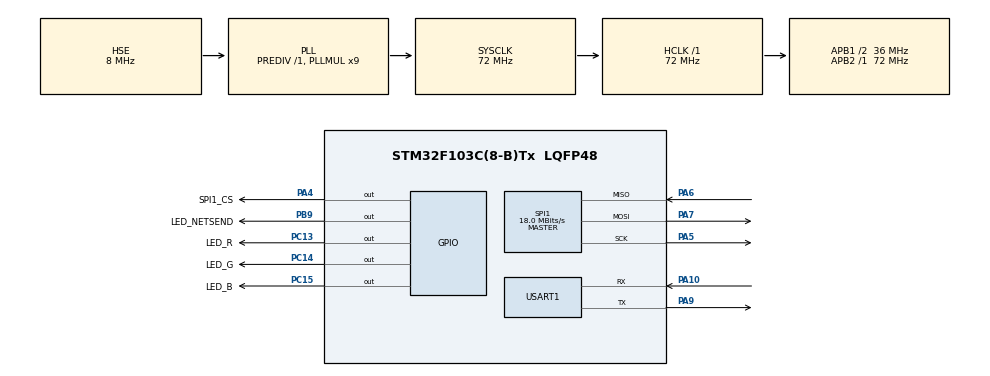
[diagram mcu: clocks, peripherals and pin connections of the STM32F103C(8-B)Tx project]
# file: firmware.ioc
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Dma.Request0=SPI1_RX
Dma.Request1=SPI1_TX
Dma.Request2=USART1_RX
Dma.Request3=USART1_TX
Dma.SPI1_RX.0.Direction=DMA_PERIPH_TO_MEMORY
Dma.SPI1_RX.0.Instance=DMA1_Channel2
Dma.SPI1_RX.0.MemDataAlignment=DMA_MDATAALIGN_BYTE
Dma.SPI1_RX.0.MemInc=DMA_MINC_ENABLE
Dma.SPI1_RX.0.Mode=DMA_NORMAL
Dma.SPI1_RX.0.PeriphDataAlignment=DMA_PDATAALIGN_BYTE
Dma.SPI1_RX.0.PeriphInc=DMA_PINC_DISABLE
Dma.SPI1_RX.0.Priority=DMA_PRIORITY_LOW
Dma.SPI1_TX.1.Direction=DMA_MEMORY_TO_PERIPH
Dma.SPI1_TX.1.Instance=DMA1_Channel3
Dma.SPI1_TX.1.MemDataAlignment=DMA_MDATAALIGN_BYTE
Dma.SPI1_TX.1.MemInc=DMA_MINC_ENABLE
Dma.SPI1_TX.1.Mode=DMA_NORMAL
Dma.SPI1_TX.1.PeriphDataAlignment=DMA_PDATAALIGN_BYTE
Dma.SPI1_TX.1.PeriphInc=DMA_PINC_DISABLE
Dma.SPI1_TX.1.Priority=DMA_PRIORITY_LOW
Dma.USART1_RX.2.Direction=DMA_PERIPH_TO_MEMORY
Dma.USART1_RX.2.Instance=DMA1_Channel5
Dma.USART1_RX.2.MemDataAlignment=DMA_MDATAALIGN_BYTE
Dma.USART1_RX.2.MemInc=DMA_MINC_ENABLE
Dma.USART1_RX.2.Mode=DMA_CIRCULAR
Dma.USART1_RX.2.PeriphDataAlignment=DMA_PDATAALIGN_BYTE
Dma.USART1_RX.2.PeriphInc=DMA_PINC_DISABLE
Dma.USART1_RX.2.Priority=DMA_PRIORITY_LOW
Dma.USART1_TX.3.Direction=DMA_MEMORY_TO_PERIPH
Dma.USART1_TX.3.Instance=DMA1_Channel4
Dma.USART1_TX.3.MemDataAlignment=DMA_MDATAALIGN_BYTE
Dma.USART1_TX.3.MemInc=DMA_MINC_ENABLE
Dma.USART1_TX.3.Mode=DMA_NORMAL
Dma.USART1_TX.3.PeriphDataAlignment=DMA_PDATAALIGN_BYTE
Dma.USART1_TX.3.PeriphInc=DMA_PINC_DISABLE
Dma.USART1_TX.3.Priority=DMA_PRIORITY_LOW
Mcu.Family=STM32F1
Mcu.Name=STM32F103C(8-B)Tx
Mcu.Package=LQFP48
NVIC.DMA1_Channel2_IRQn=true\:0\:0\:false
NVIC.DMA1_Channel3_IRQn=true\:0\:0\:false
NVIC.DMA1_Channel4_IRQn=true\:0\:0\:false
NVIC.DMA1_Channel5_IRQn=true\:0\:0\:false
NVIC.PriorityGroup=NVIC_PRIORITYGROUP_4
PA10.Mode=Asynchronous
PA10.Signal=USART1_RX
PA13.Mode=Serial_Wire
PA13.Signal=SYS_JTMS-SWDIO
PA14.Mode=Serial_Wire
PA14.Signal=SYS_JTCK-SWCLK
PA4.GPIO_Label=SPI1_CS
PA4.Signal=GPIO_Output
PA5.Mode=Full_Duplex_Master
PA5.Signal=SPI1_SCK
PA6.Mode=Full_Duplex_Master
PA6.Signal=SPI1_MISO
PA7.Mode=Full_Duplex_Master
PA7.Signal=SPI1_MOSI
PA9.Mode=Asynchronous
PA9.Signal=USART1_TX
PB9.GPIO_Label=LED_NETSEND
PB9.Signal=GPIO_Output
PC13-TAMPER-RTC.GPIO_Label=LED_R
PC13-TAMPER-RTC.Signal=GPIO_Output
PC14-OSC32_IN.GPIO_Label=LED_G
PC14-OSC32_IN.Signal=GPIO_Output
PC15-OSC32_OUT.GPIO_Label=LED_B
PC15-OSC32_OUT.Signal=GPIO_Output
PD0-OSC_IN.Mode=HSE-External-Oscillator
PD0-OSC_IN.Signal=RCC_OSC_IN
PD1-OSC_OUT.Mode=HSE-External-Oscillator
PD1-OSC_OUT.Signal=RCC_OSC_OUT
ProjectManager.TargetToolchain=SW4STM32
RCC.AHBFreq_Value=72000000
RCC.APB1CLKDivider=RCC_HCLK_DIV2
RCC.APB1Freq_Value=36000000
RCC.APB1TimFreq_Value=72000000
RCC.APB2Freq_Value=72000000
RCC.APB2TimFreq_Value=72000000
RCC.HCLKFreq_Value=72000000
RCC.HSIState=RCC_HSI_ON
RCC.PLLMUL=RCC_PLL_MUL9
RCC.PLLSourceVirtual=RCC_PLLSOURCE_HSE
RCC.SYSCLKFreq_VALUE=72000000
RCC.SYSCLKSource=RCC_SYSCLKSOURCE_PLLCLK
RCC.USBFreq_Value=72000000
SPI1.BaudRatePrescaler=SPI_BAUDRATEPRESCALER_4
SPI1.CalculateBaudRate=18.0 MBits/s
SPI1.Mode=SPI_MODE_MASTER
board=firmware

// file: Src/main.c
/**
  ******************************************************************************
  * File Name          : main.c
  * Description        : Main program body
  ******************************************************************************
  *
  * COPYRIGHT(c) 2016 STMicroelectronics
  *
  * Redistribution and use in source and binary forms, with or without modification,
  * are permitted provided that the following conditions are met:
  *   1. Redistributions of source code must retain the above copyright notice,
  *      this list of conditions and the following disclaimer.
  *   2. Redistributions in binary form must reproduce the above copyright notice,
  *      this list of conditions and the following disclaimer in the documentation
  *      and/or other materials provided with the distribution.
  *   3. Neither the name of STMicroelectronics nor the names of its contributors
  *      may be used to endorse or promote products derived from this software
  *      without specific prior written permission.
  *
  * THIS SOFTWARE IS PROVIDED BY THE COPYRIGHT HOLDERS AND CONTRIBUTORS "AS IS"
  * AND ANY EXPRESS OR IMPLIED WARRANTIES, INCLUDING, BUT NOT LIMITED TO, THE
  * IMPLIED WARRANTIES OF MERCHANTABILITY AND FITNESS FOR A PARTICULAR PURPOSE ARE
  * DISCLAIMED. IN NO EVENT SHALL THE COPYRIGHT HOLDER OR CONTRIBUTORS BE LIABLE
  * FOR ANY DIRECT, INDIRECT, INCIDENTAL, SPECIAL, EXEMPLARY, OR CONSEQUENTIAL
  * DAMAGES (INCLUDING, BUT NOT LIMITED TO, PROCUREMENT OF SUBSTITUTE GOODS OR
  * SERVICES; LOSS OF USE, DATA, OR PROFITS; OR BUSINESS INTERRUPTION) HOWEVER
  * CAUSED AND ON ANY THEORY OF LIABILITY, WHETHER IN CONTRACT, STRICT LIABILITY,
  * OR TORT (INCLUDING NEGLIGENCE OR OTHERWISE) ARISING IN ANY WAY OUT OF THE USE
  * OF THIS SOFTWARE, EVEN IF ADVISED OF THE POSSIBILITY OF SUCH DAMAGE.
  *
  ******************************************************************************
  */
#include "stm32f1xx_hal.h"

/* USER CODE BEGIN Includes */

#include <string.h>
#include "EtherShield.h"

#define PROC_PRESCALER	5

#define SENSORS		16
#define MAX_CHANNELS	16

#define NET_BUF_SIZE (1<<10)
#define UART_BUF_SIZE (NET_BUF_SIZE << 2)

#define MAX(a,b) ((a)>(b)?(a):(b))
#define BUF_SIZE MAX(NET_BUF_SIZE, UART_BUF_SIZE)

typedef uint16_t dataitem_t;

struct sensorcommand {
	dataitem_t	command_id;
	dataitem_t	 sensor_id;
	dataitem_t	channels;
	dataitem_t	channel[MAX_CHANNELS];
};
typedef struct sensorcommand sensorcommand_t;

struct collectorcommand {
	dataitem_t	command_id;
	dataitem_t	 sensor_id;
};
typedef struct collectorcommand collectorcommand_t;

enum command_id {
	CMD_GETDATA = 1,
	CMD_SETDATA = 2,
};

/* USER CODE END Includes */

SPI_HandleTypeDef hspi1;
DMA_HandleTypeDef hdma_spi1_rx;
DMA_HandleTypeDef hdma_spi1_tx;

UART_HandleTypeDef huart1;
DMA_HandleTypeDef hdma_usart1_rx;
DMA_HandleTypeDef hdma_usart1_tx;

/* USER CODE BEGIN PV */
/* Private variables ---------------------------------------------------------*/

/* USER CODE END PV */

void SystemClock_Config(void);
static void MX_GPIO_Init(void);
static void MX_DMA_Init(void);
static void MX_SPI1_Init(void);
static void MX_USART1_UART_Init(void);

/* USER CODE BEGIN PFP */
/* Private function prototypes -----------------------------------------------*/

void error (float error_num, char infinite) {
	//printf("%u\r\n", error_num);
	if (infinite)
		while (1) {
			int i = 0;
			while (i++ < ((int)((float)(error_num) / 1) + 1) ) {
				GPIOC->BSRR = LED_R_Pin;
				HAL_Delay(1000 / error_num);
				GPIOC->BSRR = LED_R_Pin << 16;
				HAL_Delay(1000 / error_num);
			}
		};

	GPIOC->BSRR = LED_R_Pin;
	HAL_Delay(1000);
	GPIOC->BSRR = LED_R_Pin << 16;
	HAL_Delay(100);

	int i=0;
	while (i++ < error_num) {
		GPIOC->BSRR = LED_R_Pin;
		HAL_Delay(300);
		GPIOC->BSRR = LED_R_Pin << 16;
		HAL_Delay(200);
	}

	HAL_Delay(500);
	NVIC_SystemReset();

	return;
}

static inline void blink(int times, int delay) {
	int i = 0;
	while (i++ < times) {
		GPIOC->BSRR = LED_R_Pin;
		HAL_Delay(delay);
		GPIOC->BSRR = LED_R_Pin << 16;
		HAL_Delay(delay);
	}

	return;
}

void ES_PingCallback(void) {
}

uint16_t get_udp_data_len(uint8_t *buf)
{
	int16_t i;
	i=(((int16_t)buf[IP_TOTLEN_H_P])<<8)|(buf[IP_TOTLEN_L_P]&0xff);
	i-=IP_HEADER_LEN;
	i-=8;
	if (i<=0){
		i=0;
	}
	return((uint16_t)i);
}

static uint16_t info_data_len = 0;
uint16_t packetloop_icmp_udp(uint8_t *buf,uint16_t plen)
{
	if(eth_type_is_arp_and_my_ip(buf,plen)){
		if (buf[ETH_ARP_OPCODE_L_P]==ETH_ARP_OPCODE_REQ_L_V){
			// is it an arp request
			make_arp_answer_from_request(buf);
		}
		return(0);

	}
	// check if ip packets are for us:
	if(eth_type_is_ip_and_my_ip(buf,plen)==0){
		return(0);
	}

	if(buf[IP_PROTO_P]==IP_PROTO_ICMP_V && buf[ICMP_TYPE_P]==ICMP_TYPE_ECHOREQUEST_V){
		make_echo_reply_from_request(buf,plen);
		return(0);
	}

	if (buf[IP_PROTO_P]==IP_PROTO_UDP_V) {
		info_data_len=get_udp_data_len(buf);
		return(IP_HEADER_LEN+8+14);
	}

	return(0);
}

/* USER CODE END PFP */

/* USER CODE BEGIN 0 */

#define NET_HEADERS_LENGTH (ETH_HEADER_LEN + IP_HEADER_LEN + UDP_HEADER_LEN)
#define RECV_TIMEOUT 1000

static uint32_t ticked = 0;
uint8_t net_sendbuf[NET_BUF_SIZE + 1];
uint8_t net_recvbuf[NET_BUF_SIZE + 1];

void main_tick() {
	ticked++;

	return;
}

void HAL_Delay(__IO uint32_t Delay)
{
	uint32_t tickstart = 0;
	tickstart = HAL_GetTick();
	while((HAL_GetTick() - tickstart) < Delay)
	{
		packetloop_icmp_udp(net_recvbuf, ES_enc28j60PacketReceive(NET_BUF_SIZE, net_recvbuf));
	}
}

/* USER CODE END 0 */

int main(void)
{

  /* MCU Configuration----------------------------------------------------------*/

  /* Reset of all peripherals, Initializes the Flash interface and the Systick. */
  HAL_Init();

  /* Configure the system clock */
  SystemClock_Config();

  /* Initialize all configured peripherals */
  MX_GPIO_Init();
  MX_DMA_Init();
  MX_SPI1_Init();
  MX_USART1_UART_Init();

  /* USER CODE BEGIN 2 */
	uint8_t  uart_recvbuf[UART_BUF_SIZE], uart_sendbuf[UART_BUF_SIZE];
	sensorcommand_t    *scmd =    (sensorcommand_t *)uart_recvbuf;
	collectorcommand_t *ccmd = (collectorcommand_t *)uart_sendbuf;

#ifdef UART_DMA
	{
		HAL_StatusTypeDef r = HAL_UART_Receive_DMA(&huart1, uart_recvbuf, UART_BUF_SIZE);
		if (r != HAL_OK)
			error(4+r, 0);
	}
#endif

	uint8_t   local_mac[] = {0x02, 0x03, 0x04, 0x05, 0x06, 0x09};
	uint8_t  remote_mac[] = {0x00, 0x1b, 0x21, 0x39, 0x37, 0x26};
	uint8_t   local_ip[]  = {10,  4, 33, 126};
	uint8_t  remote_ip[]  = {10,  4, 33, 242};

	ES_enc28j60SpiInit(&hspi1);
	ES_enc28j60Init(local_mac);

	uint8_t enc28j60_rev = ES_enc28j60Revision();
	if (enc28j60_rev <= 0)
		error(2, 0);

	ES_init_ip_arp_udp_tcp(local_mac, local_ip, 80);

  /* USER CODE END 2 */

  /* Infinite loop */
  /* USER CODE BEGIN WHILE */
	// ICMP echo server
	/*while (1)
	{
		packetloop_icmp_udp(net_sendbuf, ES_enc28j60PacketReceive(NET_BUF_SIZE, net_sendbuf));
	}*/

	uint8_t awaitingForSending = 0;
	dataitem_t *net_senddata = (dataitem_t *)(&net_sendbuf[NET_HEADERS_LENGTH]);
	dataitem_t channels = 0;

	while (1)
	{

		if (awaitingForSending) {
			GPIOB->BSRR = LED_NETSEND_Pin;
			ES_send_udp_data2(net_sendbuf, remote_mac, (3+channels)*sizeof(*net_senddata), 26524, remote_ip, 36400);
			GPIOB->BSRR = LED_NETSEND_Pin << 16;
			awaitingForSending = 0;
		}
		packetloop_icmp_udp(net_recvbuf, ES_enc28j60PacketReceive(NET_BUF_SIZE, net_recvbuf));
		//continue;

		{
			static uint8_t  awaitingForReceive = 0;
			static dataitem_t sensor_id = ~0;

#ifdef UART_DMA	// Doesn't work properly. Seems __HAL_UART_FLUSH_DRREGISTER() doesn't do what I expected.
			static uint16_t timeoutCounter;
			if (awaitingForReceive) {
				timeoutCounter++;
				if (timeoutCounter > RECV_TIMEOUT) {
					//error(3, 0);
					blink(3, 100);
					__HAL_UART_FLUSH_DRREGISTER(&huart1);
					awaitingForReceive = 0;
					GPIOC->BSRR = LED_G_Pin << 16;
					continue;
				}

				uint16_t itemsReceived = (UART_BUF_SIZE - huart1.hdmarx->Instance->CNDTR) / sizeof(dataitem_t);
				if (itemsReceived > 0) {
					if (scmd->command_id != CMD_SETDATA) {
						error(3, 0);
					}
				}
				if (itemsReceived > 1) {
					if (sensor_id != scmd->sensor_id) {
						error(4, 0);
					}
				}
				if (itemsReceived > 2) {
					channels  = scmd->channels;
				}

				if (itemsReceived-1 == channels) {
					net_senddata[0] = sensor_id;
					net_senddata[1] = channels;
					int i = 0;
					while (i < channels) {
						net_senddata[i+2] = scmd->channel[i];
						i++;
					}
					__HAL_UART_FLUSH_DRREGISTER(&huart1);
					awaitingForReceive = 0;
					awaitingForSending = 1;
					GPIOC->BSRR = LED_G_Pin << 16;
				}

				__HAL_UART_FLUSH_DRREGISTER(&huart1);

				continue;
			}
#else
			if (awaitingForReceive) {
				HAL_StatusTypeDef r;
				r = HAL_UART_Receive(&huart1, uart_recvbuf, sizeof(dataitem_t)*3, 0x1f);
				if (r == HAL_OK) {
					channels    = scmd->channels;

					net_senddata[0] = sensor_id;
					net_senddata[1] = channels;

					r = HAL_UART_Receive(&huart1, (uint8_t *)&scmd->channel, sizeof(dataitem_t)*channels, 0x1f);
				}

				if (r == HAL_OK) {
					int i = 0;
					while (i < channels) {
						net_senddata[i+2] = scmd->channel[i];
						i++;
					}
					awaitingForSending = 1;
				}

				awaitingForReceive = 0;
				GPIOC->BSRR = LED_G_Pin << 16;

				if (r != HAL_OK) {
					blink(1, 10);
					continue;
				}
			}
#endif

			if (ticked >= PROC_PRESCALER) {
				ticked = 0;

				HAL_Delay(1);

				sensor_id++;
				if (sensor_id == SENSORS)
					sensor_id = 0;

				GPIOC->BSRR = LED_G_Pin;

				ccmd->command_id = CMD_GETDATA;
				ccmd->sensor_id  = sensor_id;
				{
					HAL_StatusTypeDef r;
					r = HAL_UART_Transmit(&huart1, (uint8_t *)ccmd, sizeof(*ccmd), 0xff);
					if (r != HAL_OK)
						error(4+r, 0);
				}

				awaitingForReceive = 1;
				continue;
			}
		}
	}

  /* USER CODE END WHILE */

}

/** System Clock Configuration
*/
void SystemClock_Config(void)
{

  RCC_OscInitTypeDef RCC_OscInitStruct;
  RCC_ClkInitTypeDef RCC_ClkInitStruct;

  RCC_OscInitStruct.OscillatorType = RCC_OSCILLATORTYPE_HSE;
  RCC_OscInitStruct.HSEState = RCC_HSE_ON;
  RCC_OscInitStruct.HSEPredivValue = RCC_HSE_PREDIV_DIV1;
  RCC_OscInitStruct.PLL.PLLState = RCC_PLL_ON;
  RCC_OscInitStruct.PLL.PLLSource = RCC_PLLSOURCE_HSE;
  RCC_OscInitStruct.PLL.PLLMUL = RCC_PLL_MUL9;
  HAL_RCC_OscConfig(&RCC_OscInitStruct);

  RCC_ClkInitStruct.ClockType = RCC_CLOCKTYPE_SYSCLK|RCC_CLOCKTYPE_PCLK1;
  RCC_ClkInitStruct.SYSCLKSource = RCC_SYSCLKSOURCE_PLLCLK;
  RCC_ClkInitStruct.AHBCLKDivider = RCC_SYSCLK_DIV1;
  RCC_ClkInitStruct.APB1CLKDivider = RCC_HCLK_DIV2;
  RCC_ClkInitStruct.APB2CLKDivider = RCC_HCLK_DIV1;
  HAL_RCC_ClockConfig(&RCC_ClkInitStruct, FLASH_LATENCY_2);

  HAL_SYSTICK_Config(HAL_RCC_GetHCLKFreq()/1000);

  HAL_SYSTICK_CLKSourceConfig(SYSTICK_CLKSOURCE_HCLK);

  /* SysTick_IRQn interrupt configuration */
  HAL_NVIC_SetPriority(SysTick_IRQn, 0, 0);
}

/* SPI1 init function */
void MX_SPI1_Init(void)
{

  hspi1.Instance = SPI1;
  hspi1.Init.Mode = SPI_MODE_MASTER;
  hspi1.Init.Direction = SPI_DIRECTION_2LINES;
  hspi1.Init.DataSize = SPI_DATASIZE_8BIT;
  hspi1.Init.CLKPolarity = SPI_POLARITY_LOW;
  hspi1.Init.CLKPhase = SPI_PHASE_1EDGE;
  hspi1.Init.NSS = SPI_NSS_SOFT;
  hspi1.Init.BaudRatePrescaler = SPI_BAUDRATEPRESCALER_4;
  hspi1.Init.FirstBit = SPI_FIRSTBIT_MSB;
  hspi1.Init.TIMode = SPI_TIMODE_DISABLED;
  hspi1.Init.CRCCalculation = SPI_CRCCALCULATION_DISABLED;
  hspi1.Init.CRCPolynomial = 10;
  HAL_SPI_Init(&hspi1);

}

/* USART1 init function */
void MX_USART1_UART_Init(void)
{

  huart1.Instance = USART1;
  huart1.Init.BaudRate = 115200;
  huart1.Init.WordLength = UART_WORDLENGTH_8B;
  huart1.Init.StopBits = UART_STOPBITS_1;
  huart1.Init.Parity = UART_PARITY_NONE;
  huart1.Init.Mode = UART_MODE_TX_RX;
  huart1.Init.HwFlowCtl = UART_HWCONTROL_NONE;
  huart1.Init.OverSampling = UART_OVERSAMPLING_16;
  HAL_UART_Init(&huart1);

}

void MX_DMA_Init(void)
{
  /* DMA controller clock enable */
  __HAL_RCC_DMA1_CLK_ENABLE();

  /* DMA interrupt init */
  HAL_NVIC_SetPriority(DMA1_Channel2_IRQn, 0, 0);
  HAL_NVIC_EnableIRQ(DMA1_Channel2_IRQn);
  HAL_NVIC_SetPriority(DMA1_Channel3_IRQn, 0, 0);
  HAL_NVIC_EnableIRQ(DMA1_Channel3_IRQn);
  HAL_NVIC_SetPriority(DMA1_Channel4_IRQn, 0, 0);
  HAL_NVIC_EnableIRQ(DMA1_Channel4_IRQn);
  HAL_NVIC_SetPriority(DMA1_Channel5_IRQn, 0, 0);
  HAL_NVIC_EnableIRQ(DMA1_Channel5_IRQn);

}

/** Configure pins as
        * Analog
        * Input
        * Output
        * EVENT_OUT
        * EXTI
*/
void MX_GPIO_Init(void)
{

  GPIO_InitTypeDef GPIO_InitStruct;

  /* GPIO Ports Clock Enable */
  __GPIOC_CLK_ENABLE();
  __GPIOD_CLK_ENABLE();
  __GPIOA_CLK_ENABLE();
  __GPIOB_CLK_ENABLE();

  /*Configure GPIO pins : LED_R_Pin LED_G_Pin LED_B_Pin */
  GPIO_InitStruct.Pin = LED_R_Pin|LED_G_Pin|LED_B_Pin;
  GPIO_InitStruct.Mode = GPIO_MODE_OUTPUT_PP;
  GPIO_InitStruct.Speed = GPIO_SPEED_LOW;
  HAL_GPIO_Init(GPIOC, &GPIO_InitStruct);

  /*Configure GPIO pin : SPI1_CS_Pin */
  GPIO_InitStruct.Pin = SPI1_CS_Pin;
  GPIO_InitStruct.Mode = GPIO_MODE_OUTPUT_PP;
  GPIO_InitStruct.Speed = GPIO_SPEED_LOW;
  HAL_GPIO_Init(SPI1_CS_GPIO_Port, &GPIO_InitStruct);

  /*Configure GPIO pin : LED_NETSEND_Pin */
  GPIO_InitStruct.Pin = LED_NETSEND_Pin;
  GPIO_InitStruct.Mode = GPIO_MODE_OUTPUT_PP;
  GPIO_InitStruct.Speed = GPIO_SPEED_LOW;
  HAL_GPIO_Init(LED_NETSEND_GPIO_Port, &GPIO_InitStruct);

}

/************************ (C) COPYRIGHT STMicroelectronics *****END OF FILE****/
